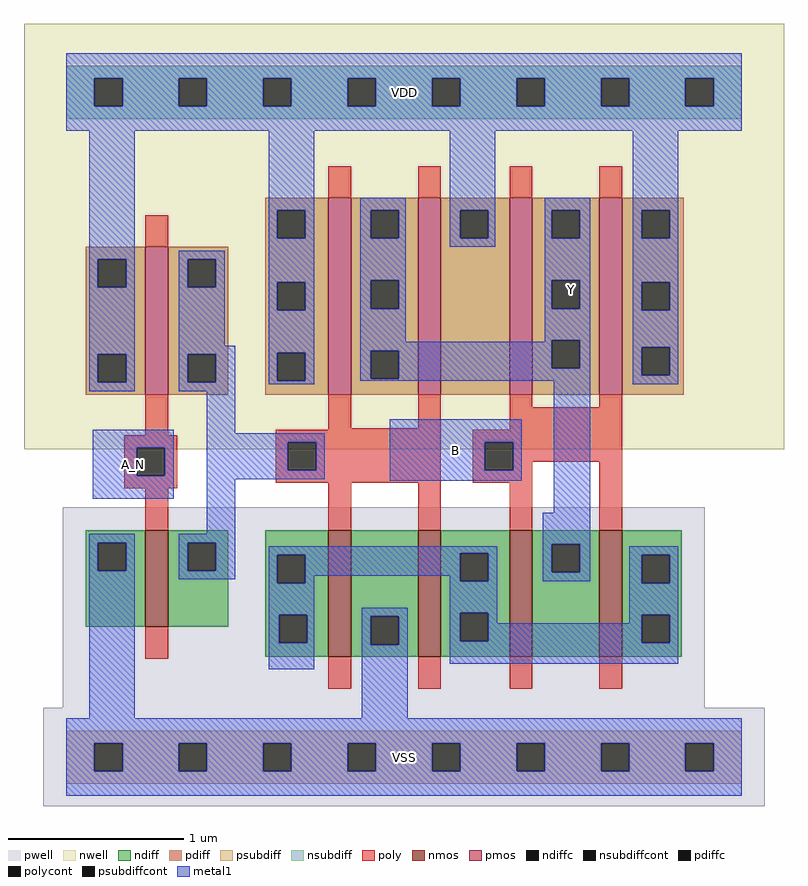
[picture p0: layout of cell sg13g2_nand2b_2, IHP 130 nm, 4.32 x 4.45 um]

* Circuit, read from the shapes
.subckt sg13g2_nand2b_2 A_N Y VDD VSS B
XM1 n1 A_N VSS VSS sg13_lv_nmos w=0.55u l=0.13u
XM2 VSS n1 n2 VSS sg13_lv_nmos w=0.72u l=0.13u m=2
XM3 Y B n2 VSS sg13_lv_nmos w=0.72u l=0.13u m=2
XM4 n1 A_N VDD VDD sg13_lv_pmos w=0.84u l=0.13u
XM5 Y n1 VDD VDD sg13_lv_pmos w=1.12u l=0.13u m=2
XM6 Y B VDD VDD sg13_lv_pmos w=1.12u l=0.13u m=2
.ends

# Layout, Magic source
magic
tech ihp-sg13g2
<< nwell >>
rect -24 175 408 417
<< pwell >>
rect -2 28 363 142
rect -13 -28 397 28
<< nmos >>
rect 45 74 58 129
rect 149 57 162 129
rect 200 57 213 129
rect 252 57 265 129
rect 303 57 316 129
<< pmos >>
rect 45 206 58 290
rect 149 206 162 318
rect 200 206 213 318
rect 252 206 265 318
rect 303 206 316 318
<< ndiff >>
rect 11 122 45 129
rect 11 106 18 122
rect 34 106 45 122
rect 11 74 45 106
rect 58 122 92 129
rect 58 106 69 122
rect 85 106 92 122
rect 58 74 92 106
rect 113 115 149 129
rect 113 99 120 115
rect 136 99 149 115
rect 113 81 149 99
rect 113 65 121 81
rect 137 65 149 81
rect 113 57 149 65
rect 162 80 200 129
rect 162 64 173 80
rect 189 64 200 80
rect 162 57 200 64
rect 213 116 252 129
rect 213 100 224 116
rect 240 100 252 116
rect 213 82 252 100
rect 213 66 224 82
rect 240 66 252 82
rect 213 57 252 66
rect 265 121 303 129
rect 265 105 276 121
rect 292 105 303 121
rect 265 57 303 105
rect 316 115 350 129
rect 316 99 327 115
rect 343 99 350 115
rect 316 81 350 99
rect 316 65 327 81
rect 343 65 350 81
rect 316 57 350 65
<< pdiff >>
rect 113 311 149 318
rect 113 295 120 311
rect 136 295 149 311
rect 11 283 45 290
rect 11 267 18 283
rect 34 267 45 283
rect 11 229 45 267
rect 11 213 18 229
rect 34 213 45 229
rect 11 206 45 213
rect 58 283 92 290
rect 58 267 69 283
rect 85 267 92 283
rect 58 229 92 267
rect 58 213 69 229
rect 85 213 92 229
rect 58 206 92 213
rect 113 270 149 295
rect 113 254 120 270
rect 136 254 149 270
rect 113 230 149 254
rect 113 214 120 230
rect 136 214 149 230
rect 113 206 149 214
rect 162 311 200 318
rect 162 295 173 311
rect 189 295 200 311
rect 162 271 200 295
rect 162 255 173 271
rect 189 255 200 271
rect 162 231 200 255
rect 162 215 173 231
rect 189 215 200 231
rect 162 206 200 215
rect 213 311 252 318
rect 213 295 224 311
rect 240 295 252 311
rect 213 206 252 295
rect 265 311 303 318
rect 265 295 276 311
rect 292 295 303 311
rect 265 271 303 295
rect 265 255 276 271
rect 292 255 303 271
rect 265 237 303 255
rect 265 221 276 237
rect 292 221 303 237
rect 265 206 303 221
rect 316 311 351 318
rect 316 295 327 311
rect 343 295 351 311
rect 316 270 351 295
rect 316 254 327 270
rect 343 254 351 270
rect 316 233 351 254
rect 316 217 327 233
rect 343 217 351 233
rect 316 206 351 217
<< ndiffc >>
rect 18 106 34 122
rect 69 106 85 122
rect 120 99 136 115
rect 121 65 137 81
rect 173 64 189 80
rect 224 100 240 116
rect 224 66 240 82
rect 276 105 292 121
rect 327 99 343 115
rect 327 65 343 81
<< pdiffc >>
rect 120 295 136 311
rect 18 267 34 283
rect 18 213 34 229
rect 69 267 85 283
rect 69 213 85 229
rect 120 254 136 270
rect 120 214 136 230
rect 173 295 189 311
rect 173 255 189 271
rect 173 215 189 231
rect 224 295 240 311
rect 276 295 292 311
rect 276 255 292 271
rect 276 221 292 237
rect 327 295 343 311
rect 327 254 343 270
rect 327 217 343 233
<< psubdiff >>
rect 0 8 384 15
rect 0 -8 16 8
rect 32 -8 64 8
rect 80 -8 112 8
rect 128 -8 160 8
rect 176 -8 208 8
rect 224 -8 256 8
rect 272 -8 304 8
rect 320 -8 352 8
rect 368 -8 384 8
rect 0 -15 384 -8
<< nsubdiff >>
rect 0 386 384 393
rect 0 370 16 386
rect 32 370 64 386
rect 80 370 112 386
rect 128 370 160 386
rect 176 370 208 386
rect 224 370 256 386
rect 272 370 304 386
rect 320 370 352 386
rect 368 370 384 386
rect 0 363 384 370
<< psubdiffcont >>
rect 16 -8 32 8
rect 64 -8 80 8
rect 112 -8 128 8
rect 160 -8 176 8
rect 208 -8 224 8
rect 256 -8 272 8
rect 304 -8 320 8
rect 352 -8 368 8
<< nsubdiffcont >>
rect 16 370 32 386
rect 64 370 80 386
rect 112 370 128 386
rect 160 370 176 386
rect 208 370 224 386
rect 256 370 272 386
rect 304 370 320 386
rect 352 370 368 386
<< poly >>
rect 149 318 162 336
rect 200 318 213 336
rect 252 318 265 336
rect 303 318 316 336
rect 45 290 58 308
rect 45 183 58 206
rect 149 187 162 206
rect 200 187 213 206
rect 149 186 213 187
rect 252 199 265 206
rect 303 199 316 206
rect 252 186 316 199
rect 33 176 63 183
rect 33 160 40 176
rect 56 160 63 176
rect 33 153 63 160
rect 119 179 213 186
rect 119 163 126 179
rect 142 163 213 179
rect 119 156 213 163
rect 231 179 316 186
rect 231 163 238 179
rect 254 168 316 179
rect 254 163 265 168
rect 231 156 265 163
rect 45 129 58 153
rect 149 129 162 156
rect 200 129 213 156
rect 252 129 265 156
rect 303 129 316 168
rect 45 56 58 74
rect 149 39 162 57
rect 200 39 213 57
rect 252 39 265 57
rect 303 39 316 57
<< polycont >>
rect 40 160 56 176
rect 126 163 142 179
rect 238 163 254 179
<< metal1 >>
rect 0 386 384 400
rect 0 370 16 386
rect 32 370 64 386
rect 80 370 112 386
rect 128 370 160 386
rect 176 370 208 386
rect 224 370 256 386
rect 272 370 304 386
rect 320 370 352 386
rect 368 370 384 386
rect 0 356 384 370
rect 13 283 39 356
rect 115 311 141 356
rect 115 295 120 311
rect 136 295 141 311
rect 13 267 18 283
rect 34 267 39 283
rect 13 229 39 267
rect 13 213 18 229
rect 34 213 39 229
rect 13 208 39 213
rect 64 283 90 288
rect 64 267 69 283
rect 85 267 90 283
rect 64 234 90 267
rect 115 270 141 295
rect 115 254 120 270
rect 136 254 141 270
rect 64 229 96 234
rect 64 213 69 229
rect 85 213 96 229
rect 64 208 96 213
rect 115 230 141 254
rect 115 214 120 230
rect 136 214 141 230
rect 167 311 193 318
rect 167 295 173 311
rect 189 295 193 311
rect 167 271 193 295
rect 218 311 244 356
rect 218 295 224 311
rect 240 295 244 311
rect 218 290 244 295
rect 272 311 298 318
rect 272 295 276 311
rect 292 295 298 311
rect 167 255 173 271
rect 189 255 193 271
rect 167 236 193 255
rect 272 271 298 295
rect 272 255 276 271
rect 292 255 298 271
rect 272 237 298 255
rect 272 236 276 237
rect 167 231 276 236
rect 167 215 173 231
rect 189 221 276 231
rect 292 221 298 237
rect 189 215 298 221
rect 167 214 298 215
rect 115 212 141 214
rect 15 176 61 186
rect 15 160 40 176
rect 56 160 61 176
rect 15 147 61 160
rect 80 184 96 208
rect 80 179 147 184
rect 80 163 126 179
rect 142 163 147 179
rect 80 158 147 163
rect 184 179 259 192
rect 184 163 238 179
rect 254 163 259 179
rect 80 127 96 158
rect 184 157 259 163
rect 277 139 298 214
rect 322 311 348 356
rect 322 295 327 311
rect 343 295 348 311
rect 322 270 348 295
rect 322 254 327 270
rect 343 254 348 270
rect 322 233 348 254
rect 322 217 327 233
rect 343 217 348 233
rect 322 212 348 217
rect 13 122 39 127
rect 13 106 18 122
rect 34 106 39 122
rect 13 22 39 106
rect 64 122 96 127
rect 64 106 69 122
rect 85 106 96 122
rect 271 121 298 139
rect 64 101 96 106
rect 115 116 245 120
rect 115 115 224 116
rect 115 99 120 115
rect 136 103 224 115
rect 136 99 141 103
rect 115 81 141 99
rect 218 100 224 103
rect 240 100 245 116
rect 271 105 276 121
rect 292 105 298 121
rect 271 100 298 105
rect 320 115 348 120
rect 115 65 121 81
rect 137 65 141 81
rect 115 50 141 65
rect 168 80 194 85
rect 168 64 173 80
rect 189 64 194 80
rect 168 22 194 64
rect 218 82 245 100
rect 218 66 224 82
rect 240 76 245 82
rect 320 99 327 115
rect 343 99 348 115
rect 320 81 348 99
rect 320 76 327 81
rect 240 66 327 76
rect 218 65 327 66
rect 343 65 348 81
rect 218 53 348 65
rect 0 8 384 22
rect 0 -8 16 8
rect 32 -8 64 8
rect 80 -8 112 8
rect 128 -8 160 8
rect 176 -8 208 8
rect 224 -8 256 8
rect 272 -8 304 8
rect 320 -8 352 8
rect 368 -8 384 8
rect 0 -22 384 -8
<< labels >>
flabel metal1 s 15 147 61 186 0 FreeSans 200 0 0 0 A_N
port 2 nsew
flabel metal1 s 276 214 298 318 0 FreeSans 200 0 0 0 Y
port 3 nsew
flabel metal1 s 0 356 384 400 0 FreeSans 200 0 0 0 VDD
port 4 nsew
flabel metal1 s 0 -22 384 22 0 FreeSans 200 0 0 0 VSS
port 5 nsew
flabel metal1 s 184 157 259 192 0 FreeSans 200 0 0 0 B
port 6 nsew
<< properties >>
string FIXED_BBOX 0 0 384 378
string GDS_END 220936
string GDS_FILE ../gds/controller.gds
string GDS_START 215392
<< end >>
